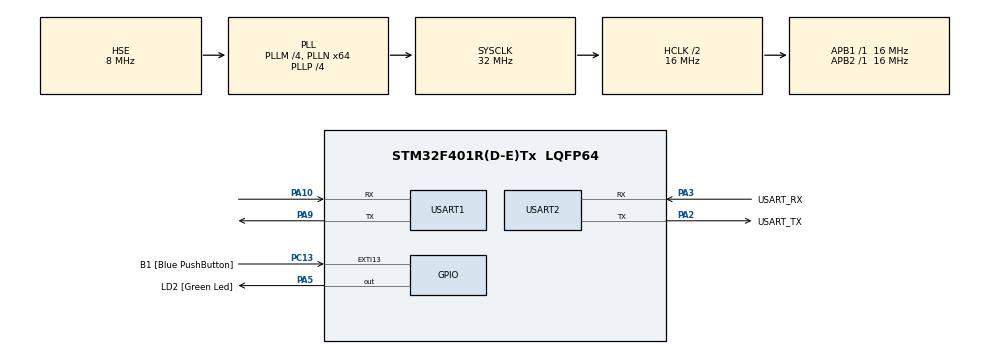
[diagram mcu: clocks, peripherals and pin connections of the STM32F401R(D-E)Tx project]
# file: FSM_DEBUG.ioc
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Dma.Request0=USART1_RX
Dma.Request1=USART1_TX
Dma.USART1_RX.0.Direction=DMA_PERIPH_TO_MEMORY
Dma.USART1_RX.0.FIFOMode=DMA_FIFOMODE_DISABLE
Dma.USART1_RX.0.Instance=DMA2_Stream2
Dma.USART1_RX.0.MemDataAlignment=DMA_MDATAALIGN_BYTE
Dma.USART1_RX.0.MemInc=DMA_MINC_ENABLE
Dma.USART1_RX.0.Mode=DMA_CIRCULAR
Dma.USART1_RX.0.PeriphDataAlignment=DMA_PDATAALIGN_BYTE
Dma.USART1_RX.0.PeriphInc=DMA_PINC_DISABLE
Dma.USART1_RX.0.Priority=DMA_PRIORITY_LOW
Dma.USART1_TX.1.Direction=DMA_MEMORY_TO_PERIPH
Dma.USART1_TX.1.FIFOMode=DMA_FIFOMODE_DISABLE
Dma.USART1_TX.1.Instance=DMA2_Stream7
Dma.USART1_TX.1.MemDataAlignment=DMA_MDATAALIGN_BYTE
Dma.USART1_TX.1.MemInc=DMA_MINC_ENABLE
Dma.USART1_TX.1.Mode=DMA_CIRCULAR
Dma.USART1_TX.1.PeriphDataAlignment=DMA_PDATAALIGN_BYTE
Dma.USART1_TX.1.PeriphInc=DMA_PINC_DISABLE
Dma.USART1_TX.1.Priority=DMA_PRIORITY_LOW
Mcu.Family=STM32F4
Mcu.Name=STM32F401R(D-E)Tx
Mcu.Package=LQFP64
NVIC.DMA2_Stream2_IRQn=true\:0\:0\:false\:false\:true\:false\:true\:true
NVIC.DMA2_Stream7_IRQn=true\:0\:0\:false\:false\:true\:false\:true\:true
NVIC.PriorityGroup=NVIC_PRIORITYGROUP_0
NVIC.TIM3_IRQn=true\:0\:0\:false\:false\:true\:true\:true\:true
NVIC.TIM4_IRQn=true\:0\:0\:false\:false\:true\:true\:true\:true
NVIC.USART1_IRQn=true\:0\:0\:false\:false\:true\:true\:true\:true
PA10.Mode=Asynchronous
PA10.Signal=USART1_RX
PA13.GPIO_Label=TMS
PA13.Mode=Serial_Wire
PA13.Signal=SYS_JTMS-SWDIO
PA14.GPIO_Label=TCK
PA14.Mode=Serial_Wire
PA14.Signal=SYS_JTCK-SWCLK
PA2.GPIO_Label=USART_TX
PA2.GPIO_Mode=GPIO_MODE_AF_PP
PA2.GPIO_PuPd=GPIO_NOPULL
PA2.GPIO_Speed=GPIO_SPEED_FREQ_LOW
PA2.Mode=Asynchronous
PA2.Signal=USART2_TX
PA3.GPIO_Label=USART_RX
PA3.GPIO_Mode=GPIO_MODE_AF_PP
PA3.GPIO_PuPd=GPIO_NOPULL
PA3.GPIO_Speed=GPIO_SPEED_FREQ_LOW
PA3.Mode=Asynchronous
PA3.Signal=USART2_RX
PA5.GPIO_Label=LD2 [Green Led]
PA5.GPIO_Mode=GPIO_MODE_OUTPUT_PP
PA5.GPIO_PuPd=GPIO_NOPULL
PA5.GPIO_Speed=GPIO_SPEED_FREQ_LOW
PA5.Signal=GPIO_Output
PA9.Mode=Asynchronous
PA9.Signal=USART1_TX
PB3.GPIO_Label=SWO
PB3.Signal=SYS_JTDO-SWO
PC13-ANTI_TAMP.GPIO_Label=B1 [Blue PushButton]
PC13-ANTI_TAMP.GPIO_ModeDefaultEXTI=GPIO_MODE_IT_FALLING
PC13-ANTI_TAMP.GPIO_PuPd=GPIO_NOPULL
PC13-ANTI_TAMP.Signal=GPXTI13
PC14-OSC32_IN.Mode=LSE-External-Oscillator
PC14-OSC32_IN.Signal=RCC_OSC32_IN
PC15-OSC32_OUT.Mode=LSE-External-Oscillator
PC15-OSC32_OUT.Signal=RCC_OSC32_OUT
PH0\ -\ OSC_IN.Mode=HSE-External-Oscillator
PH0\ -\ OSC_IN.Signal=RCC_OSC_IN
PH1\ -\ OSC_OUT.Mode=HSE-External-Oscillator
PH1\ -\ OSC_OUT.Signal=RCC_OSC_OUT
ProjectManager.HeapSize=0x200
ProjectManager.StackSize=0x400
ProjectManager.TargetToolchain=STM32CubeIDE
RCC.48MHZClocksFreq_Value=18285714.285714287
RCC.AHBCLKDivider=RCC_SYSCLK_DIV2
RCC.AHBFreq_Value=16000000
RCC.APB1Freq_Value=16000000
RCC.APB1TimFreq_Value=16000000
RCC.APB2Freq_Value=16000000
RCC.APB2TimFreq_Value=16000000
RCC.CortexFreq_Value=16000000
RCC.HCLKFreq_Value=16000000
RCC.HSE_VALUE=8000000
RCC.HSI_VALUE=16000000
RCC.PLLM=4
RCC.PLLN=64
RCC.PLLP=RCC_PLLP_DIV4
RCC.PLLQ=7
RCC.PLLSourceVirtual=RCC_PLLSOURCE_HSE
RCC.SYSCLKFreq_VALUE=32000000
RCC.SYSCLKSource=RCC_SYSCLKSOURCE_PLLCLK
RCC.VCOOutputFreq_Value=128000000
TIM3.Period=1787
TIM3.Prescaler=1787
TIM4.Period=7999
TIM4.Prescaler=1999
USART1.VirtualMode=VM_ASYNC
USART2.VirtualMode=VM_ASYNC
VP_TIM3_VS_ClockSourceINT.Mode=Internal
VP_TIM4_VS_ClockSourceINT.Mode=Internal
board=NUCLEO-F401RE

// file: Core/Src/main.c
/* USER CODE BEGIN Header */
/**
 ******************************************************************************
 * @file           : main.c
 * @brief          : Main program body
 ******************************************************************************
 * @attention
 *
 * Copyright (c) 2026 STMicroelectronics.
 * All rights reserved.
 *
 * This software is licensed under terms that can be found in the LICENSE file
 * in the root directory of this software component.
 * If no LICENSE file comes with this software, it is provided AS-IS.
 *
 ******************************************************************************
 */
/* USER CODE END Header */
#include "main.h"

TIM_HandleTypeDef htim3;
TIM_HandleTypeDef htim4;

UART_HandleTypeDef huart1;
UART_HandleTypeDef huart2;
DMA_HandleTypeDef hdma_usart1_rx;
DMA_HandleTypeDef hdma_usart1_tx;

void SystemClock_Config(void);
static void MX_GPIO_Init(void);
static void MX_DMA_Init(void);
static void MX_USART2_UART_Init(void);
static void MX_USART1_UART_Init(void);
static void MX_TIM3_Init(void);
static void MX_TIM4_Init(void);

/* USER CODE BEGIN 0 */
uint8_t rx_buff[MAX_NMEA_LEN];

// inicializa a estrutura que salva os dados do gnss
gnss_data_t gnss_data;

// inicializa maquina de estados
system_state_t system_state = STATE_IDLE;

/* USER CODE END 0 */

int main(void) {

	/* MCU Configuration--------------------------------------------------------*/

	/* Reset of all peripherals, Initializes the Flash interface and the Systick. */
	HAL_Init();

	/* Configure the system clock */
	SystemClock_Config();

	/* Initialize all configured peripherals */
	MX_GPIO_Init();
	MX_DMA_Init();
	MX_USART2_UART_Init();
	MX_USART1_UART_Init();
	MX_TIM3_Init();
	MX_TIM4_Init();
	/* USER CODE BEGIN 2 */
//  HAL_UARTEx_ReceiveToIdle_IT(&huart1, rx_buff, MAX_NMEA_LEN);
//  HAL_UART_Receive_DMA(&huart1, rx_buff, MAX_NMEA_LEN);
//  HAL_UART_Receive_IT(&huart1, rx_buff, MAX_NMEA_LEN);
	HAL_UARTEx_ReceiveToIdle_IT(&huart1, rx_buff, MAX_NMEA_LEN);
	print_init(&huart2);

	/* USER CODE END 2 */

	/* Infinite loop */
	/* USER CODE BEGIN WHILE */
	HAL_TIM_Base_Start_IT(&htim3);
	HAL_TIM_Base_Start_IT(&htim4);

	while (1) {
		// continue;
		switch (system_state) {

		case STATE_RECEIVE_UART: {
			// novos dados chegaram no DMA
			// identifica os inicios e fins das mensagens
			const uint8_t MAX_NUMBER_OF_SENTENCES = 20;
			int16_t list_of_start_idxs[MAX_NUMBER_OF_SENTENCES];
			int16_t list_of_end_idxs[MAX_NUMBER_OF_SENTENCES];

			// inicializa com -1
			for (int k = 0; k < MAX_NUMBER_OF_SENTENCES; ++k) {
				list_of_start_idxs[k] = -1;
				list_of_end_idxs[k] = -1;
			}

			// varre o buffer inteiro e vai salvandos os inicios e fins
			uint8_t sentence_idx = 0;
			for (int k = 0; k < MAX_NMEA_LEN; ++k) {
				if (sentence_idx >= MAX_NUMBER_OF_SENTENCES) {
					break;
				}

				if (rx_buff[k] == '$') {
					list_of_start_idxs[sentence_idx] = k;
					sentence_idx++;
				}

				if (rx_buff[k] == '\n' && sentence_idx > 0
						&& list_of_start_idxs[sentence_idx - 1] != -1) {
					// so pega o final se comecou a sentenca antes
					list_of_end_idxs[sentence_idx - 1] = k;
				}
			}

			// verifica se esta igual o numero de start e end
			uint8_t checked_started = 0, checked_end = 0;
			for (int k = 0; k < MAX_NUMBER_OF_SENTENCES; ++k) {
				if (list_of_start_idxs[k] != -1) {
					checked_started++;
				}
				if (list_of_end_idxs[k] != -1) {
					checked_end++;
				}
			}

			if (checked_started != checked_end) {
				// falha na separação das sentenças. break na FSM e descarta esse buffer
				change_state(&system_state, STATE_IDLE);
				break;
			}

			if (checked_started == 0 || checked_end == 0) {
				// sem sentencas NMEA. descarta
				change_state(&system_state, STATE_IDLE);
				break;
			}

			// para cada sentenca, parseia
			for (int k = 0; k < checked_started; ++k) {
				int16_t start_idx = list_of_start_idxs[k];
				int16_t end_idx = list_of_end_idxs[k];

				if (start_idx >= end_idx) {
					// vai para a proxima sentenca, ignora essa
					continue;
				}

				if (start_idx >= MAX_NMEA_LEN || end_idx >= MAX_NMEA_LEN) {
					// vai para a proxima sentenca, ignora essa
					continue;
				}

				// index de inicio e fim determinados. salva no nmea_sentence
				uint8_t sentence_size = end_idx - start_idx + 1; // inclui o \n
				char *nmea_sentence = (char*) malloc(
						sentence_size * sizeof(char));

				int16_t nmea_sentence_idx = 0;
				for (int16_t k = start_idx; k <= end_idx; ++k) {
					nmea_sentence[nmea_sentence_idx] = rx_buff[k];
					nmea_sentence_idx++;
				}

				// nmea_sentence agora contem uma sentença nmea. joga para os parsers
				NMEA_Type nmea_type = NMEA_UNKNOWN;

				if (classify_nmea(&nmea_type, nmea_sentence) != NO_ERROR) {
					continue; // falha na classificacao: vai para a proxima
				}

				switch (nmea_type) {
				case NMEA_GPGGA: {
					if (parse_gpgga(&gnss_data, nmea_sentence) != NO_ERROR) {
						continue; // falha no parse: vai para a proxima
					}
					break;
				}

				case NMEA_GPRMC: {
					if (parse_gprmc(&gnss_data, nmea_sentence) != NO_ERROR) {
						continue; // falha no parse: vai para a proxima
					}
					break;
				}
				case NMEA_UNKNOWN:
					break;
				}

				free(nmea_sentence);
				nmea_sentence = NULL;
			}

			// finalizei o parse do bufer
			change_state(&system_state, STATE_IDLE);
			break;

		}

		case STATE_SEND_UART: {
			// timer disparou: faz o envio
			char uart_output_message[MAX_NMEA_LEN] = { '\0' };
			if (save_to_message(&gnss_data, uart_output_message, MAX_NMEA_LEN)
					!= NO_ERROR) {
				continue; // messaging failed
			}

			print_message(uart_output_message);

			// formata os dados para a CAN
			uint8_t lat_buf[8];
			save_lat_to_buffer(&gnss_data, lat_buf);

			uint8_t lon_buf[8];
			save_lon_to_buffer(&gnss_data, lon_buf);

			uint8_t utc_buf[8]; // gets unix timestamp in miliseconds
			save_utc_to_buffer(&gnss_data, utc_buf);

			uint8_t general_buf[8];
			save_general_to_buffer(&gnss_data, general_buf);

			// envia para a CAN
//			FDCAN_SendMessage(LATITUDE_CAN_ID, lat_buf);
//			FDCAN_SendMessage(LONGITUDE_CAN_ID, lon_buf);
//			FDCAN_SendMessage(UTC_CAN_ID, utc_buf);
//			FDCAN_SendMessage(GENERAL_GNSS_CAN_ID, general_buf);

			change_state(&system_state, STATE_IDLE);

			break;
		}
		case STATE_IDLE:
		default: {
			break;
		}
		}
//	  HAL_GPIO_TogglePin(LD2_GPIO_Port, LD2_Pin);
//	  print_message("Hello World! \r\n");

//	  HAL_Delay(100);
		/* USER CODE END WHILE */

	}
}

void SystemClock_Config(void) {
	RCC_OscInitTypeDef RCC_OscInitStruct = { 0 };
	RCC_ClkInitTypeDef RCC_ClkInitStruct = { 0 };

	/** Configure the main internal regulator output voltage
	 */
	__HAL_RCC_PWR_CLK_ENABLE();
	__HAL_PWR_VOLTAGESCALING_CONFIG(PWR_REGULATOR_VOLTAGE_SCALE2);

	/** Initializes the RCC Oscillators according to the specified parameters
	 * in the RCC_OscInitTypeDef structure.
	 */
	RCC_OscInitStruct.OscillatorType = RCC_OSCILLATORTYPE_HSE;
	RCC_OscInitStruct.HSEState = RCC_HSE_ON;
	RCC_OscInitStruct.PLL.PLLState = RCC_PLL_ON;
	RCC_OscInitStruct.PLL.PLLSource = RCC_PLLSOURCE_HSE;
	RCC_OscInitStruct.PLL.PLLM = 4;
	RCC_OscInitStruct.PLL.PLLN = 64;
	RCC_OscInitStruct.PLL.PLLP = RCC_PLLP_DIV4;
	RCC_OscInitStruct.PLL.PLLQ = 7;
	if (HAL_RCC_OscConfig(&RCC_OscInitStruct) != HAL_OK) {
		Error_Handler();
	}

	/** Initializes the CPU, AHB and APB buses clocks
	 */
	RCC_ClkInitStruct.ClockType = RCC_CLOCKTYPE_HCLK | RCC_CLOCKTYPE_SYSCLK
			| RCC_CLOCKTYPE_PCLK1 | RCC_CLOCKTYPE_PCLK2;
	RCC_ClkInitStruct.SYSCLKSource = RCC_SYSCLKSOURCE_PLLCLK;
	RCC_ClkInitStruct.AHBCLKDivider = RCC_SYSCLK_DIV2;
	RCC_ClkInitStruct.APB1CLKDivider = RCC_HCLK_DIV1;
	RCC_ClkInitStruct.APB2CLKDivider = RCC_HCLK_DIV1;

	if (HAL_RCC_ClockConfig(&RCC_ClkInitStruct, FLASH_LATENCY_0) != HAL_OK) {
		Error_Handler();
	}
}

static void MX_TIM3_Init(void) {

	TIM_ClockConfigTypeDef sClockSourceConfig = { 0 };
	TIM_MasterConfigTypeDef sMasterConfig = { 0 };

	htim3.Instance = TIM3;
	htim3.Init.Prescaler = 1787;
	htim3.Init.CounterMode = TIM_COUNTERMODE_UP;
	htim3.Init.Period = 1787;
	htim3.Init.ClockDivision = TIM_CLOCKDIVISION_DIV1;
	htim3.Init.AutoReloadPreload = TIM_AUTORELOAD_PRELOAD_DISABLE;
	if (HAL_TIM_Base_Init(&htim3) != HAL_OK) {
		Error_Handler();
	}
	sClockSourceConfig.ClockSource = TIM_CLOCKSOURCE_INTERNAL;
	if (HAL_TIM_ConfigClockSource(&htim3, &sClockSourceConfig) != HAL_OK) {
		Error_Handler();
	}
	sMasterConfig.MasterOutputTrigger = TIM_TRGO_RESET;
	sMasterConfig.MasterSlaveMode = TIM_MASTERSLAVEMODE_DISABLE;
	if (HAL_TIMEx_MasterConfigSynchronization(&htim3, &sMasterConfig)
			!= HAL_OK) {
		Error_Handler();
	}

}

static void MX_TIM4_Init(void) {

	TIM_ClockConfigTypeDef sClockSourceConfig = { 0 };
	TIM_MasterConfigTypeDef sMasterConfig = { 0 };

	htim4.Instance = TIM4;
	htim4.Init.Prescaler = 1999;
	htim4.Init.CounterMode = TIM_COUNTERMODE_UP;
	htim4.Init.Period = 7999;
	htim4.Init.ClockDivision = TIM_CLOCKDIVISION_DIV1;
	htim4.Init.AutoReloadPreload = TIM_AUTORELOAD_PRELOAD_DISABLE;
	if (HAL_TIM_Base_Init(&htim4) != HAL_OK) {
		Error_Handler();
	}
	sClockSourceConfig.ClockSource = TIM_CLOCKSOURCE_INTERNAL;
	if (HAL_TIM_ConfigClockSource(&htim4, &sClockSourceConfig) != HAL_OK) {
		Error_Handler();
	}
	sMasterConfig.MasterOutputTrigger = TIM_TRGO_RESET;
	sMasterConfig.MasterSlaveMode = TIM_MASTERSLAVEMODE_DISABLE;
	if (HAL_TIMEx_MasterConfigSynchronization(&htim4, &sMasterConfig)
			!= HAL_OK) {
		Error_Handler();
	}

}

static void MX_USART1_UART_Init(void) {

	huart1.Instance = USART1;
	huart1.Init.BaudRate = 115200;
	huart1.Init.WordLength = UART_WORDLENGTH_8B;
	huart1.Init.StopBits = UART_STOPBITS_1;
	huart1.Init.Parity = UART_PARITY_NONE;
	huart1.Init.Mode = UART_MODE_TX_RX;
	huart1.Init.HwFlowCtl = UART_HWCONTROL_NONE;
	huart1.Init.OverSampling = UART_OVERSAMPLING_16;
	if (HAL_UART_Init(&huart1) != HAL_OK) {
		Error_Handler();
	}

}

static void MX_USART2_UART_Init(void) {

	huart2.Instance = USART2;
	huart2.Init.BaudRate = 115200;
	huart2.Init.WordLength = UART_WORDLENGTH_8B;
	huart2.Init.StopBits = UART_STOPBITS_1;
	huart2.Init.Parity = UART_PARITY_NONE;
	huart2.Init.Mode = UART_MODE_TX_RX;
	huart2.Init.HwFlowCtl = UART_HWCONTROL_NONE;
	huart2.Init.OverSampling = UART_OVERSAMPLING_16;
	if (HAL_UART_Init(&huart2) != HAL_OK) {
		Error_Handler();
	}

}

static void MX_DMA_Init(void) {

	/* DMA controller clock enable */
	__HAL_RCC_DMA2_CLK_ENABLE();

	/* DMA interrupt init */
	/* DMA2_Stream2_IRQn interrupt configuration */
	HAL_NVIC_SetPriority(DMA2_Stream2_IRQn, 0, 0);
	HAL_NVIC_EnableIRQ(DMA2_Stream2_IRQn);
	/* DMA2_Stream7_IRQn interrupt configuration */
	HAL_NVIC_SetPriority(DMA2_Stream7_IRQn, 0, 0);
	HAL_NVIC_EnableIRQ(DMA2_Stream7_IRQn);

}

static void MX_GPIO_Init(void) {
	GPIO_InitTypeDef GPIO_InitStruct = { 0 };

	/* GPIO Ports Clock Enable */
	__HAL_RCC_GPIOC_CLK_ENABLE();
	__HAL_RCC_GPIOH_CLK_ENABLE();
	__HAL_RCC_GPIOA_CLK_ENABLE();
	__HAL_RCC_GPIOB_CLK_ENABLE();

	/*Configure GPIO pin Output Level */
	HAL_GPIO_WritePin(LD2_GPIO_Port, LD2_Pin, GPIO_PIN_RESET);

	/*Configure GPIO pin : B1_Pin */
	GPIO_InitStruct.Pin = B1_Pin;
	GPIO_InitStruct.Mode = GPIO_MODE_IT_FALLING;
	GPIO_InitStruct.Pull = GPIO_NOPULL;
	HAL_GPIO_Init(B1_GPIO_Port, &GPIO_InitStruct);

	/*Configure GPIO pin : LD2_Pin */
	GPIO_InitStruct.Pin = LD2_Pin;
	GPIO_InitStruct.Mode = GPIO_MODE_OUTPUT_PP;
	GPIO_InitStruct.Pull = GPIO_NOPULL;
	GPIO_InitStruct.Speed = GPIO_SPEED_FREQ_LOW;
	HAL_GPIO_Init(LD2_GPIO_Port, &GPIO_InitStruct);

}

/* USER CODE BEGIN 4 */
//void HAL_UART_RxCpltCallback(UART_HandleTypeDef *huart)
//{
//  HAL_UART_Receive_IT(&huart1, rx_buff, MAX_NMEA_LEN); //You need to toggle a breakpoint on this line!
//}
//void HAL_UART_RxCpltCallback(UART_HandleTypeDef *huart)
//{
//  HAL_UART_Receive_DMA(&huart1, rx_buff, MAX_NMEA_LEN); //You need to toggle a breakpoint on this line!
//}
void HAL_UARTEx_RxEventCallback(UART_HandleTypeDef *huart, uint16_t Size) {
//	uint16_t sz = Size;
//  HAL_UARTEx_ReceiveToIdle_IT(&huart1, rx_buff, MAX_NMEA_LEN);

	if (huart->Instance == USART1) {
		// Size = number of received bytes before IDLE
		change_state(&system_state, STATE_RECEIVE_UART);

		// Restart reception
		HAL_UARTEx_ReceiveToIdle_IT(&huart1, rx_buff, MAX_NMEA_LEN);

		// blink LED
		HAL_GPIO_TogglePin(LD2_GPIO_Port, LD2_Pin);

		// reset the watchdog timer
		TIM4->CNT = 0;
	}
}

void HAL_TIM_PeriodElapsedCallback(TIM_HandleTypeDef *htim) {
	if (htim->Instance == TIM3) {
		change_state(&system_state, STATE_SEND_UART);
	}

	if (htim->Instance == TIM4) {
		// watchdog timer: reset the UART communication
		HAL_UARTEx_ReceiveToIdle_IT(&huart1, rx_buff, MAX_NMEA_LEN);
	}
}

/* USER CODE END 4 */

void Error_Handler(void) {
	__disable_irq();
	while (1) {
	}
}
